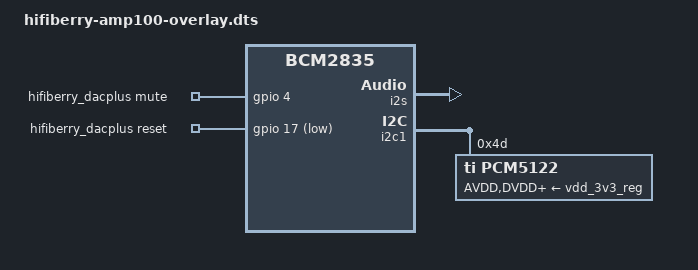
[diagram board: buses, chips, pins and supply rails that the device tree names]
// Definitions for HiFiBerry AMP100
/dts-v1/;
/plugin/;

/ {
	compatible = "brcm,bcm2835";

	fragment@0 {
		target-path = "/";
		__overlay__ {
			dacpro_osc: dacpro_osc {
				compatible = "hifiberry,dacpro-clk";
				#clock-cells = <0>;
			};
		};
	};

	fragment@1 {
		target = <&i2s>;
		__overlay__ {
			status = "okay";
		};
	};

	fragment@2 {
		target = <&i2c1>;
		__overlay__ {
			#address-cells = <1>;
			#size-cells = <0>;
			status = "okay";

			pcm5122@4d {
				#sound-dai-cells = <0>;
				compatible = "ti,pcm5122";
				reg = <0x4d>;
				clocks = <&dacpro_osc>;
				AVDD-supply = <&vdd_3v3_reg>;
				DVDD-supply = <&vdd_3v3_reg>;
				CPVDD-supply = <&vdd_3v3_reg>;
				status = "okay";
			};
		};
	};

	fragment@3 {
		target = <&sound>;
		hifiberry_dacplus: __overlay__ {
			compatible = "hifiberry,hifiberry-dacplus";
			i2s-controller = <&i2s>;
			status = "okay";
			mute-gpio = <&gpio 4 0>;
			reset-gpio = <&gpio 17 0x11>;
		};
	};

	__overrides__ {
		24db_digital_gain =
			<&hifiberry_dacplus>,"hifiberry,24db_digital_gain?";
		slave = <&hifiberry_dacplus>,"hifiberry-dacplus,slave?";
		leds_off = <&hifiberry_dacplus>,"hifiberry-dacplus,leds_off?";
		mute_ext_ctl = <&hifiberry_dacplus>,"hifiberry-dacplus,mute_ext_ctl:0";
		auto_mute = <&hifiberry_dacplus>,"hifiberry-dacplus,auto_mute?";
	};
};
